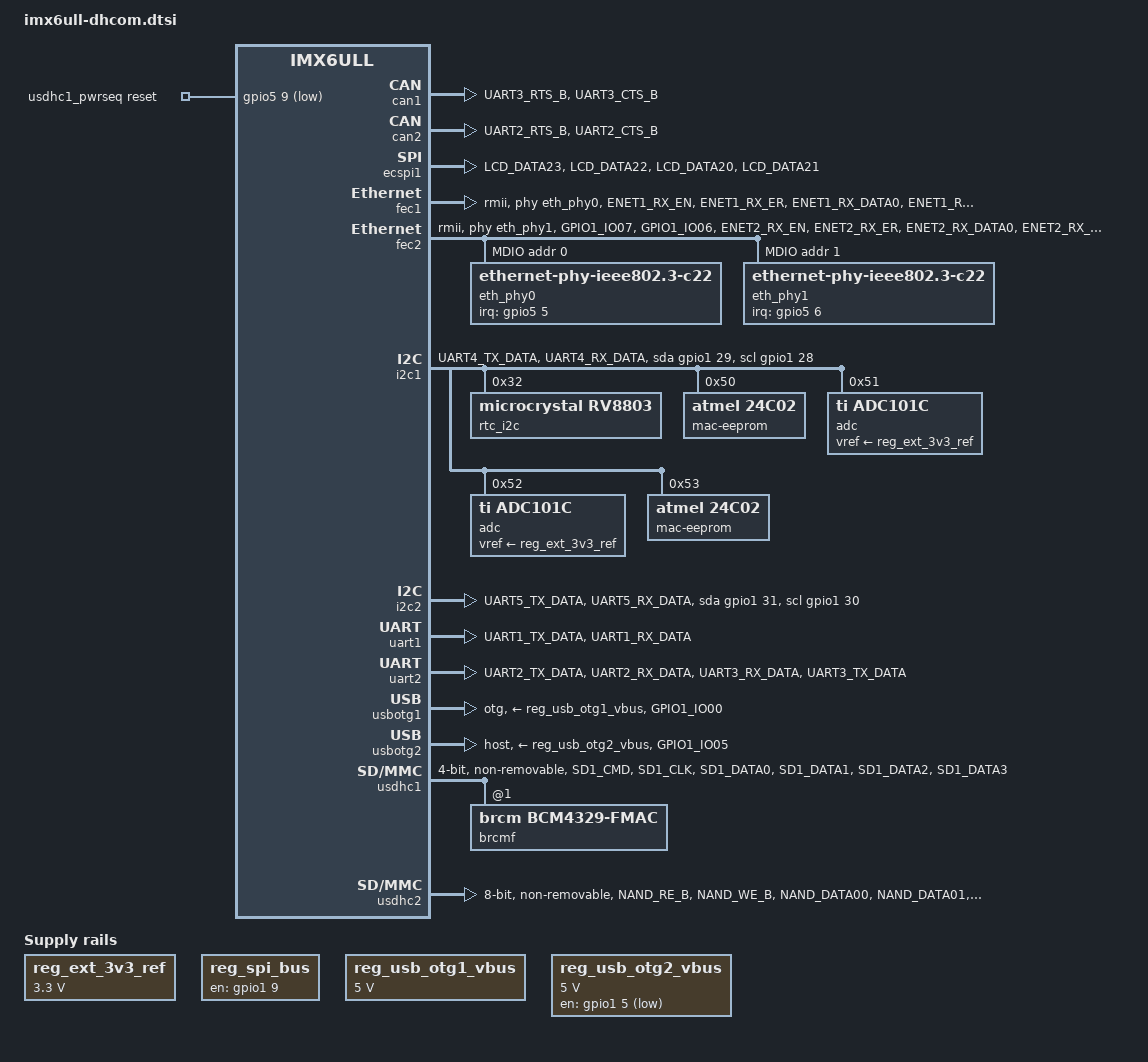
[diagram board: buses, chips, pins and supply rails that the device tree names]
// SPDX-License-Identifier: (GPL-2.0-or-later)
/*
 * Copyright (C) 2018 DH electronics GmbH
 */

#include "imx6ull.dtsi"
#include <dt-bindings/pwm/pwm.h>

/ {
	aliases {
		rtc0 = &rtc_i2c;
		rtc1 = &snvs_rtc;
		/delete-property/ mmc0; /* Avoid double definitions */
		/delete-property/ mmc1;
		mmc2 = &usdhc2; /* eMMC (on module) should be mmc2 */
	};

	chosen {
		stdout-path = &uart1;
	};

	memory@80000000 { /* Appropriate memory size will be filled by u-boot */
		reg = <0x80000000 0>;
	};

	reg_ext_3v3_ref: regulator-ext-3v3-ref {
		compatible = "regulator-fixed";
		regulator-name = "VCC_3V3_REF";
		regulator-min-microvolt = <3300000>;
		regulator-max-microvolt = <3300000>;
		regulator-always-on;
	};

	/*
	 * Pin SPI_BOOT_FLASH_EN (1.9) = HIGH means
	 * SPI bootflash => non-accessible
	 * SPI bus       =>     accessible
	 */
	/omit-if-no-ref/ reg_spi_bus: regulator-spi-bus {
		compatible = "regulator-fixed";
		regulator-name = "spi_bus_enable";
		regulator-always-on;
		gpio = <&gpio1 9 GPIO_ACTIVE_HIGH>;
		enable-active-high;
	};

	reg_usb_otg1_vbus: regulator-usb-otg1-vbus {
		compatible = "regulator-fixed";
		regulator-name = "usb-otg1-vbus";
		regulator-min-microvolt = <5000000>;
		regulator-max-microvolt = <5000000>;
	};

	reg_usb_otg2_vbus: regulator-usb-otg2-vbus {
		compatible = "regulator-fixed";
		regulator-name = "usb-otg2-vbus";
		regulator-min-microvolt = <5000000>;
		regulator-max-microvolt = <5000000>;
		gpio = <&gpio1 5 GPIO_ACTIVE_LOW>;
	};

	reserved-memory {
		#address-cells = <1>;
		#size-cells = <1>;
		ranges;

		/* First 1 MiB DDR3 memory for data/firmware like EDID */
		firmware@80000000 {
			reg = <0x80000000 0x100000>;
			no-map;
		};
	};

	/omit-if-no-ref/ usdhc1_pwrseq: usdhc1-pwrseq {
		compatible = "mmc-pwrseq-simple";
		reset-gpios = <&gpio5 9 GPIO_ACTIVE_LOW>; /* WL_REG_ON by GPIO H */
	};
};

&can1 {
	pinctrl-names = "default";
	pinctrl-0 = <&pinctrl_flexcan1>;
	status = "okay";
};

&can2 {
	pinctrl-names = "default";
	pinctrl-0 = <&pinctrl_flexcan2>;
	status = "okay";
};

&clks {
	assigned-clocks = <&clks IMX6UL_CLK_PLL3_PFD2>;
	assigned-clock-rates = <320000000>;
};

&ecspi1 { /* DHCOM SPI1 */
	cs-gpios = <&gpio3 26 GPIO_ACTIVE_LOW>;
	pinctrl-names = "default";
	pinctrl-0 = <&pinctrl_ecspi1>;
	power-supply = <&reg_spi_bus>;
	status = "okay";
};

&ecspi4 { /* DHCOM SPI2 */
	/*
	 * Special hardware required which uses the pins from enet 2. If you
	 * want to enable this in the board device tree file, you also need to
	 * disable enet 2.
	 */
	cs-gpios = <&gpio2 15 GPIO_ACTIVE_LOW>;
	pinctrl-names = "default";
	pinctrl-0 = <&pinctrl_ecspi4>;
	status = "disabled";
};

&fec1 {
	pinctrl-names = "default";
	pinctrl-0 = <&pinctrl_enet1>;
	phy-mode = "rmii";
	phy-reset-gpios = <&gpio3 23 GPIO_ACTIVE_LOW>;
	phy-reset-duration = <1>;
	phy-reset-post-delay = <10>;
	phy-handle = <&eth_phy0>;
	status = "okay";
};

&fec2 {
	pinctrl-names = "default";
	pinctrl-0 = <&pinctrl_enet2>;
	phy-mode = "rmii";
	phy-reset-gpios = <&gpio3 24 GPIO_ACTIVE_LOW>;
	phy-reset-duration = <1>;
	phy-reset-post-delay = <10>;
	phy-handle = <&eth_phy1>;
	status = "okay";

	mdio {
		#address-cells = <1>;
		#size-cells = <0>;

		eth_phy0: ethernet-phy@0 { /* SMSC LAN8710Ai */
			pinctrl-names = "default";
			pinctrl-0 = <&pinctrl_snvs_eth_phy0>;
			compatible = "ethernet-phy-ieee802.3-c22";
			reg = <0>;
		/* TODO: If this is active SMSC phy isn't accessible
			reset-gpios = <&gpio3 23 GPIO_ACTIVE_LOW>;
			reset-assert-us = <1000>;
			reset-deassert-us = <10000>; */
			clocks = <&clks IMX6UL_CLK_ENET_REF>;
			clock-names = "rmii-ref";
			interrupt-parent = <&gpio5>;
			interrupts = <5 IRQ_TYPE_EDGE_FALLING>;
			smsc,disable-energy-detect; /* Make plugin detection reliable */
			max-speed = <100>;
			status = "okay";
		};

		eth_phy1: ethernet-phy@1 { /* SMSC LAN8710Ai */
			pinctrl-names = "default";
			pinctrl-0 = <&pinctrl_snvs_eth_phy1>;
			compatible = "ethernet-phy-ieee802.3-c22";
			reg = <1>;
		/* TODO: If this is active SMSC phy isn't accessible
			reset-gpios = <&gpio3 24 GPIO_ACTIVE_LOW>;
			reset-assert-us = <1000>;
			reset-deassert-us = <10000>; */
			clocks = <&clks IMX6UL_CLK_ENET2_REF>;
			clock-names = "rmii-ref";
			interrupt-parent = <&gpio5>;
			interrupts = <6 IRQ_TYPE_EDGE_FALLING>;
			smsc,disable-energy-detect; /* Make plugin detection reliable */
			max-speed = <100>;
			status = "okay";
		};
	};
};

&gpio1 {		/* 0      1      2      3      4      5      6      7  */
	gpio-line-names =  ""   , ""   , ""   , ""   , ""   , ""   , ""   , ""   ,
			/* 8      9      10     11     12     13     14     15 */
			   ""   , ""   , ""   , "INT", ""   , ""   , ""   , ""   ,
			/* 16     17     18     19     20     21     22     23 */
			   ""   , ""   , "I"  , ""   , ""   , ""   , ""   , ""   ,
			/* 24     25     26     27     28     29     30     31 */
			   ""   , ""   , ""   , ""   , ""   , ""   , ""   , ""   ;
};

&gpio2 {		/* 0      1      2      3      4      5      6      7  */
	gpio-line-names =  ""   , ""   , ""   , ""   , ""   , ""   , ""   , ""   ,
			/* 8      9      10     11     12     13     14     15 */
			   ""   , ""   , ""   , ""   , ""   , ""   , ""   , ""   ,
			/* 16     17     18     19     20     21     22     23 */
			   ""   , ""   , ""   , ""   , ""   , ""   , ""   , ""   ,
			/* 24     25     26     27     28     29     30     31 */
			   ""   , ""   , ""   , ""   , ""   , ""   , ""   , ""   ;
};

&gpio3 {		/* 0      1      2      3      4      5      6      7  */
	gpio-line-names =  ""   , ""   , ""   , ""   , ""   , ""   , ""   , ""   ,
			/* 8      9      10     11     12     13     14     15 */
			   ""   , ""   , ""   , ""   , ""   , ""   , ""   , ""   ,
			/* 16     17     18     19     20     21     22     23 */
			   ""   , ""   , ""   , ""   , ""   , ""   , ""   , ""   ,
			/* 24     25     26     27     28     29     30     31 */
			   ""   , ""   , ""   , ""   , ""   , ""   , ""   , ""   ;
};

&gpio4 {		/* 0      1      2      3      4      5      6      7  */
	gpio-line-names =  ""   , ""   , ""   , ""   , ""   , ""   , "",    ""   ,
			/* 8      9      10     11     12     13     14     15 */
			   ""   , ""   , ""   , ""   , ""   , ""   , ""   , ""   ,
			/* 16     17     18     19     20     21     22     23 */
			   ""   , "L"  , "K"  , "M"  , "J"  , "U"  , "T"  , "S"  ,
			/* 24     25     26     27     28     29     30     31 */
			   "R"  , "Q"  , "P"  , "O"  , "N"  , ""   , ""   , ""   ;
};

&gpio5 {		/* 0      1      2      3      4      5      6      7  */
	gpio-line-names =  "A"  , "B"  , "C"  , "D"  , "E"  , ""   , ""   , "F"  ,
			/* 8      9      10     11     12     13     14     15 */
			   "G"  , "H"  , ""   , ""   , ""   , ""   , ""   , ""   ,
			/* 16     17     18     19     20     21     22     23 */
			   ""   , ""   , ""   , ""   , ""   , ""   , ""   , ""   ,
			/* 24     25     26     27     28     29     30     31 */
			   ""   , ""   , ""   , ""   , ""   , ""   , ""   , ""   ;
};

&i2c1 { /* DHCOM I2C2 */
	pinctrl-names = "default", "gpio";
	pinctrl-0 = <&pinctrl_i2c1>;
	pinctrl-1 = <&pinctrl_i2c1_gpio>;
	scl-gpios = <&gpio1 28 (GPIO_ACTIVE_HIGH | GPIO_OPEN_DRAIN)>;
	sda-gpios = <&gpio1 29 (GPIO_ACTIVE_HIGH | GPIO_OPEN_DRAIN)>;
	clock_frequency = <100000>;
	status = "okay";

	rtc_i2c: rtc@32 {
		compatible = "microcrystal,rv8803";
		reg = <0x32>;
	};

	mac-eeprom@50 { /* Microchip 24AA025E48T-I/OT containing MAC for enet1 */
		compatible = "atmel,24c02";
		reg = <0x50>;
		pagesize = <16>;
	};

	adc@51 { /* TI ADC101C027 */
		compatible = "ti,adc101c";
		reg = <0x51>;
		vref-supply = <&reg_ext_3v3_ref>;
	};

	adc@52 { /* TI ADC101C027 */
		compatible = "ti,adc101c";
		reg = <0x52>;
		vref-supply = <&reg_ext_3v3_ref>;
	};

	mac-eeprom@53 { /* Microchip 24AA025E48T-I/OT containing MAC for enet2 */
		compatible = "atmel,24c02";
		reg = <0x53>;
		pagesize = <16>;
	};

	pmic@58 {
		compatible = "dlg,da9061";
		reg = <0x58>;
		interrupt-parent = <&gpio4>;
		interrupts = <21 IRQ_TYPE_LEVEL_LOW>; /* GPIO U */
		interrupt-controller;
		status = "disabled"; /* TODO: Activate and test PMIC */

		onkey {
			compatible = "dlg,da9061-onkey", "dlg,da9062-onkey";
			dlg,disable-key-power;
		};

		watchdog {
			compatible = "dlg,da9061-watchdog", "dlg,da9062-watchdog";
		};

		thermal {
			compatible = "dlg,da9061-thermal", "dlg,da9062-thermal";
			polling-delay-passive = <3000>;
		};

		regulators {
			vdd_soc_in_1v4: buck1 {
				regulator-name = "vdd_soc_in_1v4";
				regulator-min-microvolt = <730000>;
				regulator-max-microvolt = <1380000>;
				regulator-always-on;
			};

			vcc_3v3: buck2 {
				regulator-name = "vcc_3v3";
				regulator-min-microvolt = <3300000>;
				regulator-max-microvolt = <3300000>;
				regulator-always-on;
			};

			vcc_ddr_1v35: buck3 {
				regulator-name = "vcc_ddr_1v35";
				regulator-min-microvolt = <1350000>;
				regulator-max-microvolt = <1350000>;
				regulator-always-on;
			};

			vcc_2v5: ldo1 {
				regulator-name = "vcc_2v5";
				regulator-min-microvolt = <2500000>;
				regulator-max-microvolt = <2500000>;
				regulator-always-on;
			};

			vdd_snvs_in_3v3: ldo2 {
				regulator-name = "vdd_snvs_in_3v3";
				regulator-min-microvolt = <3300000>;
				regulator-max-microvolt = <3300000>;
				regulator-always-on;
			};

			vcc_1v8: ldo3 {
				regulator-name = "vcc_1v8";
				regulator-min-microvolt = <1800000>;
				regulator-max-microvolt = <1800000>;
			};

			vcc_1v2: ldo4 {
				regulator-name = "vcc_1v2";
				regulator-min-microvolt = <1200000>;
				regulator-max-microvolt = <1200000>;
			};
		};
	};
};

&i2c2 { /* DHCOM I2C1 */
	pinctrl-names = "default", "gpio";
	pinctrl-0 = <&pinctrl_i2c2>;
	pinctrl-1 = <&pinctrl_i2c2_gpio>;
	scl-gpios = <&gpio1 30 (GPIO_ACTIVE_HIGH | GPIO_OPEN_DRAIN)>;
	sda-gpios = <&gpio1 31 (GPIO_ACTIVE_HIGH | GPIO_OPEN_DRAIN)>;
	clock_frequency = <100000>;
	status = "okay";
};

&lcdif {
	pinctrl-names = "default";
	pinctrl-0 = <&pinctrl_lcdif>;
	status = "disabled"; /* Should be actived in a dt layer above */
};

&ocotp {
	read-only; /* Don't get write access by default */
};

&pwm1 {
	pinctrl-names = "default";
	pinctrl-0 = <&pinctrl_pwm1>;
	#pwm-cells = <3>;
	status = "disabled"; /* Should be actived in a dt layer above */
};

&tsc {
	pinctrl-names = "default";
	pinctrl-0 = <&pinctrl_tsc>;
	xnur-gpio = <&gpio1 3 GPIO_ACTIVE_LOW>;
	measure-delay-time = <0xffff>;
	pre-charge-time = <0xfff>;
	touchscreen-average-samples = <32>;
	status = "disabled"; /* Should be actived in a dt layer above */
};

&uart1 {
	pinctrl-names = "default";
	pinctrl-0 = <&pinctrl_uart1>;
	status = "okay";
};

&uart2 { /* DHCOM UART2 or BT on LGA */
	pinctrl-names = "default";
	pinctrl-0 = <&pinctrl_uart2>;
	uart-has-rtscts;
	status = "okay";
};

&uart6 { /* DHCOM UART2 (alternative) */
	/*
	 * Special hardware required which uses GPIO pins for DHCOM UART2. If
	 * you want to enable this in the board device tree file, you also need
	 * to disable the muxing of the pins to GPIO J/K/L/M.
	 */
	pinctrl-names = "default";
	pinctrl-0 = <&pinctrl_uart6>;
	uart-has-rtscts;
	status = "disabled";
};

&usbotg1 {
	vbus-supply = <&reg_usb_otg1_vbus>;
	pinctrl-names = "default";
	pinctrl-0 = <&pinctrl_usbotg1>;
	disable-over-current;
	dr_mode = "otg";
	srp-disable;
	hnp-disable;
	adp-disable;
	status = "okay";
};

&usbotg2 {
	vbus-supply = <&reg_usb_otg2_vbus>;
	pinctrl-names = "default";
	pinctrl-0 = <&pinctrl_usbotg2>;
	disable-over-current;
	dr_mode = "host";
	tpl-support;
	status = "okay";
};

&usbphy1 {
	fsl,tx-d-cal = <106>;
};

&usbphy2 {
	fsl,tx-d-cal = <106>;
};

&usdhc1 { /* WiFi on LGA */
	pinctrl-names = "default";
	pinctrl-0 = <&pinctrl_usdhc1_wifi>;
	bus-width = <4>;
	no-1-8-v;
	non-removable;
	mmc-pwrseq = <&usdhc1_pwrseq>;
	status = "okay";

	#address-cells = <1>;
	#size-cells = <0>;

	brcmf: wifi@1 {
		compatible = "brcm,bcm4329-fmac";
		reg = <1>;
	};
};

&usdhc2 { /* eMMC (on module) */
	pinctrl-names = "default";
	pinctrl-0 = <&pinctrl_usdhc2>;
	non-removable;
	bus-width = <8>;
	no-1-8-v;
	keep-power-in-suspend;
	status = "okay";
};

&iomuxc {
	pinctrl-names = "default";
	pinctrl-0 = <&pinctrl_hog_dhcom>;

	pinctrl_hog_dhcom: hog-dhcom-grp {
		fsl,pins = <
			MX6UL_PAD_GPIO1_IO09__GPIO1_IO09	0x4001b0b0 /* SPI_BOOT_FLASH_EN */
		>;
	};

	pinctrl_ecspi1: ecspi1-grp {
		fsl,pins = <
			MX6UL_PAD_LCD_DATA23__ECSPI1_MISO	0x100b1
			MX6UL_PAD_LCD_DATA22__ECSPI1_MOSI	0x100b1
			MX6UL_PAD_LCD_DATA20__ECSPI1_SCLK	0x100b1
			MX6UL_PAD_LCD_DATA21__GPIO3_IO26	0x1b0b0 /* SS0 */
		>;
	};

	pinctrl_ecspi4: ecspi4-grp {
		fsl,pins = <
			MX6UL_PAD_ENET2_TX_CLK__ECSPI4_MISO	0x100b1
			MX6UL_PAD_ENET2_TX_EN__ECSPI4_MOSI	0x100b1
			MX6UL_PAD_ENET2_TX_DATA1__ECSPI4_SCLK	0x100b1
			MX6UL_PAD_ENET2_RX_ER__GPIO2_IO15	0x1b0b0 /* SS0 */
		>;
	};

	pinctrl_enet1: enet1-grp {
		fsl,pins = <
			/* enet1 uses MDIO bus from enet2 */
			MX6UL_PAD_ENET1_RX_EN__ENET1_RX_EN	0x1b0b0
			MX6UL_PAD_ENET1_RX_ER__ENET1_RX_ER	0x1b0b0
			MX6UL_PAD_ENET1_RX_DATA0__ENET1_RDATA00	0x1b0b0
			MX6UL_PAD_ENET1_RX_DATA1__ENET1_RDATA01	0x1b0b0
			MX6UL_PAD_ENET1_TX_EN__ENET1_TX_EN	0x1b010
			MX6UL_PAD_ENET1_TX_DATA0__ENET1_TDATA00	0x1b010
			MX6UL_PAD_ENET1_TX_DATA1__ENET1_TDATA01	0x1b010
			MX6UL_PAD_ENET1_TX_CLK__ENET1_REF_CLK1	0x4001b010
			MX6UL_PAD_LCD_DATA18__GPIO3_IO23	0xb0 /* SMSC phy reset */
		>;
	};

	pinctrl_enet2: enet2-grp {
		fsl,pins = <
			MX6UL_PAD_GPIO1_IO07__ENET2_MDC		0x1b0b0
			MX6UL_PAD_GPIO1_IO06__ENET2_MDIO	0x1b0b0
			MX6UL_PAD_ENET2_RX_EN__ENET2_RX_EN	0x1b0b0
			MX6UL_PAD_ENET2_RX_ER__ENET2_RX_ER	0x1b0b0
			MX6UL_PAD_ENET2_RX_DATA0__ENET2_RDATA00	0x1b0b0
			MX6UL_PAD_ENET2_RX_DATA1__ENET2_RDATA01	0x1b0b0
			MX6UL_PAD_ENET2_TX_EN__ENET2_TX_EN	0x1b010
			MX6UL_PAD_ENET2_TX_DATA0__ENET2_TDATA00	0x1b010
			MX6UL_PAD_ENET2_TX_DATA1__ENET2_TDATA01	0x1b010
			MX6UL_PAD_ENET2_TX_CLK__ENET2_REF_CLK2	0x4001b010
			MX6UL_PAD_LCD_DATA19__GPIO3_IO24	0xb0 /* SMSC phy reset */
		>;
	};

	pinctrl_flexcan1: flexcan1-grp{
		fsl,pins = <
			MX6UL_PAD_UART3_RTS_B__FLEXCAN1_RX	0x1b020
			MX6UL_PAD_UART3_CTS_B__FLEXCAN1_TX	0x1b020
		>;
	};

	pinctrl_flexcan2: flexcan2-grp{
		fsl,pins = <
			MX6UL_PAD_UART2_RTS_B__FLEXCAN2_RX	0x1b020
			MX6UL_PAD_UART2_CTS_B__FLEXCAN2_TX	0x1b020
		>;
	};

	pinctrl_i2c1: i2c1-grp {
		fsl,pins = <
			MX6UL_PAD_UART4_TX_DATA__I2C1_SCL	0x4001b8b0
			MX6UL_PAD_UART4_RX_DATA__I2C1_SDA	0x4001b8b0
		>;
	};

	pinctrl_i2c1_gpio: i2c1-gpio-grp {
		fsl,pins = <
			MX6UL_PAD_UART4_TX_DATA__GPIO1_IO28	0x4001b8b0
			MX6UL_PAD_UART4_RX_DATA__GPIO1_IO29	0x4001b8b0
		>;
	};

	pinctrl_i2c2: i2c2-grp {
		fsl,pins = <
			MX6UL_PAD_UART5_TX_DATA__I2C2_SCL	0x4001b8b0
			MX6UL_PAD_UART5_RX_DATA__I2C2_SDA	0x4001b8b0
		>;
	};

	pinctrl_i2c2_gpio: i2c2-gpio-grp {
		fsl,pins = <
			MX6UL_PAD_UART5_TX_DATA__GPIO1_IO30	0x4001b8b0
			MX6UL_PAD_UART5_RX_DATA__GPIO1_IO31	0x4001b8b0
		>;
	};

	pinctrl_lcdif: lcdif-grp {
		fsl,pins = <
			MX6UL_PAD_LCD_CLK__LCDIF_CLK		0x79
			MX6UL_PAD_LCD_ENABLE__LCDIF_ENABLE	0x79
			MX6UL_PAD_LCD_HSYNC__LCDIF_HSYNC	0x79
			MX6UL_PAD_LCD_VSYNC__LCDIF_VSYNC	0x79
			MX6UL_PAD_LCD_DATA00__LCDIF_DATA00	0x79
			MX6UL_PAD_LCD_DATA01__LCDIF_DATA01	0x79
			MX6UL_PAD_LCD_DATA02__LCDIF_DATA02	0x79
			MX6UL_PAD_LCD_DATA03__LCDIF_DATA03	0x79
			MX6UL_PAD_LCD_DATA04__LCDIF_DATA04	0x79
			MX6UL_PAD_LCD_DATA05__LCDIF_DATA05	0x79
			MX6UL_PAD_LCD_DATA06__LCDIF_DATA06	0x79
			MX6UL_PAD_LCD_DATA07__LCDIF_DATA07	0x79
			MX6UL_PAD_LCD_DATA08__LCDIF_DATA08	0x79
			MX6UL_PAD_LCD_DATA09__LCDIF_DATA09	0x79
			MX6UL_PAD_LCD_DATA10__LCDIF_DATA10	0x79
			MX6UL_PAD_LCD_DATA11__LCDIF_DATA11	0x79
			MX6UL_PAD_LCD_DATA12__LCDIF_DATA12	0x79
			MX6UL_PAD_LCD_DATA13__LCDIF_DATA13	0x79
			MX6UL_PAD_LCD_DATA14__LCDIF_DATA14	0x79
			MX6UL_PAD_LCD_DATA15__LCDIF_DATA15	0x79
			MX6UL_PAD_LCD_DATA16__LCDIF_DATA16	0x79
			MX6UL_PAD_LCD_DATA17__LCDIF_DATA17	0x79
		>;
	};

	pinctrl_pwm1: pwm1-grp {
		fsl,pins = <
			MX6UL_PAD_GPIO1_IO08__PWM1_OUT		0x110b0
		>;
	};

	pinctrl_tsc: tsc-grp {
		fsl,pins = <
			MX6UL_PAD_GPIO1_IO01__GPIO1_IO01	0xb0
			MX6UL_PAD_GPIO1_IO02__GPIO1_IO02	0xb0
			MX6UL_PAD_GPIO1_IO03__GPIO1_IO03	0xb0
			MX6UL_PAD_GPIO1_IO04__GPIO1_IO04	0xb0
		>;
	};

	pinctrl_uart1: uart1-grp {
		fsl,pins = <
			MX6UL_PAD_UART1_TX_DATA__UART1_DCE_TX	0x1b0b1
			MX6UL_PAD_UART1_RX_DATA__UART1_DCE_RX	0x1b0b1
		>;
	};

	pinctrl_uart2: uart2-grp {
		fsl,pins = <
			MX6UL_PAD_UART2_TX_DATA__UART2_DCE_TX	0x1b0b1
			MX6UL_PAD_UART2_RX_DATA__UART2_DCE_RX	0x1b0b1
			MX6UL_PAD_UART3_RX_DATA__UART2_DCE_RTS	0x1b0b1
			MX6UL_PAD_UART3_TX_DATA__UART2_DCE_CTS	0x1b0b1
		>;
	};

	pinctrl_uart6: uart6-grp {
		fsl,pins = <
			MX6UL_PAD_CSI_MCLK__UART6_DCE_TX	0x1b0b1
			MX6UL_PAD_CSI_PIXCLK__UART6_DCE_RX	0x1b0b1
			MX6UL_PAD_CSI_VSYNC__UART6_DCE_RTS	0x1b0b1
			MX6UL_PAD_CSI_HSYNC__UART6_DCE_CTS	0x1b0b1
		>;
	};

	pinctrl_usbotg1: usbotg1-grp {
		fsl,pins = <
			MX6UL_PAD_GPIO1_IO00__ANATOP_OTG1_ID	0x17059
		>;
	};

	pinctrl_usbotg2: usbotg2-grp {
		fsl,pins = <
			MX6UL_PAD_GPIO1_IO05__GPIO1_IO05	0x120b0
		>;
	};

	pinctrl_usdhc1_wifi: usdhc1-wifi-grp {
		fsl,pins = <
			MX6UL_PAD_SD1_CMD__USDHC1_CMD		0x1b0b0
			MX6UL_PAD_SD1_CLK__USDHC1_CLK		0x10010
			MX6UL_PAD_SD1_DATA0__USDHC1_DATA0	0x1b0b0
			MX6UL_PAD_SD1_DATA1__USDHC1_DATA1	0x1b0b0
			MX6UL_PAD_SD1_DATA2__USDHC1_DATA2	0x1b0b0
			MX6UL_PAD_SD1_DATA3__USDHC1_DATA3	0x1b0b0
		>;
	};

	pinctrl_usdhc2: usdhc2-grp {
		fsl,pins = <
			MX6UL_PAD_NAND_RE_B__USDHC2_CLK		0x10069
			MX6UL_PAD_NAND_WE_B__USDHC2_CMD		0x17059
			MX6UL_PAD_NAND_DATA00__USDHC2_DATA0	0x17059
			MX6UL_PAD_NAND_DATA01__USDHC2_DATA1	0x17059
			MX6UL_PAD_NAND_DATA02__USDHC2_DATA2	0x17059
			MX6UL_PAD_NAND_DATA03__USDHC2_DATA3	0x17059
			MX6UL_PAD_NAND_DATA04__USDHC2_DATA4	0x17059
			MX6UL_PAD_NAND_DATA05__USDHC2_DATA5	0x17059
			MX6UL_PAD_NAND_DATA06__USDHC2_DATA6	0x17059
			MX6UL_PAD_NAND_DATA07__USDHC2_DATA7	0x17059
			MX6UL_PAD_NAND_ALE__USDHC2_RESET_B	0x17059 /* SD2 RESET */
		>;
	};
};

&iomuxc_snvs {
	pinctrl_snvs_eth_phy0: snvs-eth-phy0-grp {
		fsl,pins = <
			MX6ULL_PAD_SNVS_TAMPER5__GPIO5_IO05	0xb0 /* SMSC phy INT */
		>;
	};

	pinctrl_snvs_eth_phy1: snvs-eth-phy1-grp {
		fsl,pins = <
			MX6ULL_PAD_SNVS_TAMPER6__GPIO5_IO06	0xb0 /* SMSC phy INT */
		>;
	};
};
